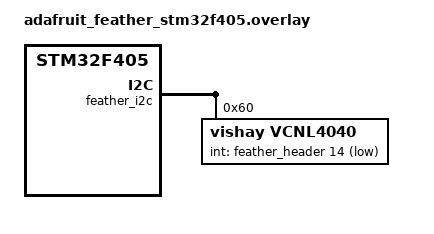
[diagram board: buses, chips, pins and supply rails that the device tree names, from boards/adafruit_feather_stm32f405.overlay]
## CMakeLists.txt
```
# SPDX-License-Identifier: Apache-2.0

cmake_minimum_required(VERSION 3.28.0)
find_package(Zephyr REQUIRED HINTS $ENV{ZEPHYR_BASE})
project(vcnl4040)

target_sources(app PRIVATE src/main.c)
```

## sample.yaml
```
sample:
  name: VCNL4040 Sensor Sample
tests:
  sample.sensor.vcnl4040:
    harness: sensor
    platform_allow:
      - adafruit_feather_stm32f405
    tags: sensors
```

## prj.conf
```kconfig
CONFIG_PRINTK=y
CONFIG_GPIO=y
CONFIG_I2C=y
CONFIG_SENSOR=y
CONFIG_VCNL4040_TRIGGER_GLOBAL_THREAD=y
CONFIG_VCNL4040_ENABLE_ALS=y
```

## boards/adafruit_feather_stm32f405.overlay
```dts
/*
 * Copyright (c) 2020, Richard Osterloh
 *
 * SPDX-License-Identifier: Apache-2.0
 */

&feather_i2c {
	vcnl4040@60 {
		compatible = "vishay,vcnl4040";
		reg = <0x60>;
		int-gpios = <&feather_header 14 (GPIO_ACTIVE_LOW | GPIO_PULL_UP)>;
		led-current = <200>;
		led-duty-cycle = <320>;
		proximity-it = "8";
		proximity-trigger = "close";
		als-it = <640>;
	};
};
```

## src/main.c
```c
/*
 * Copyright (c) 2020 Richard Osterloh
 *
 * SPDX-License-Identifier: Apache-2.0
 */

#include <zephyr/kernel.h>

#include <zephyr/sys/printk.h>
#include <zephyr/sys/clock.h>
#include <stdio.h>

#include <zephyr/device.h>
#include <zephyr/drivers/sensor.h>
#include <zephyr/drivers/i2c.h>

#define MAX_TEST_TIME	5000
#define SLEEPTIME	300

static void print_proxy_data(const struct device *dev)
{
	struct sensor_value pdata;

	if (sensor_channel_get(dev, SENSOR_CHAN_PROX, &pdata) < 0) {
		printf("Cannot read proximity data.\n");
		return;
	}

	printf("Proximity: %d\n", (uint16_t) pdata.val1);
}
#if defined(CONFIG_VCNL4040_ENABLE_ALS)
static void print_als_data(const struct device *dev)
{
	struct sensor_value val;

	if (sensor_channel_get(dev, SENSOR_CHAN_LIGHT, &val) < 0) {
		printf("ALS read error.\n");
		return;
	}

	printf("Light (lux): %d\n", (uint16_t) val.val1);
}
#endif
static void test_polling_mode(const struct device *dev)
{
	int32_t remaining_test_time = MAX_TEST_TIME;

	do {
		if (sensor_sample_fetch(dev) < 0) {
			printf("sample update error.\n");
		} else {
			print_proxy_data(dev);
#if defined(CONFIG_VCNL4040_ENABLE_ALS)
			print_als_data(dev);
#endif
		}

		/* wait a while */
		k_sleep(K_MSEC(SLEEPTIME));

		remaining_test_time -= SLEEPTIME;
	} while (remaining_test_time > 0);
}

#if defined(CONFIG_VCNL4040_TRIGGER)
static void trigger_handler(const struct device *dev,
			    const struct sensor_trigger *trig)
{
	switch (trig->type) {
	case SENSOR_TRIG_THRESHOLD:
		printf("Triggered.\n");
		if (sensor_sample_fetch(dev) < 0) {
			printf("sample update error.\n");
		} else {
			print_proxy_data(dev);
		}
		return;

	default:
		printf("trigger handler: unknown trigger type.\n");
		return;
	}
}
#endif

static void test_trigger_mode(const struct device *dev)
{
#if defined(CONFIG_VCNL4040_TRIGGER)
	struct sensor_trigger trig;
	struct sensor_value attr;

	printf("Testing proximity trigger.\n");

	attr.val1 = 127;
	attr.val2 = 0;

	if (sensor_attr_set(dev, SENSOR_CHAN_PROX,
			    SENSOR_ATTR_UPPER_THRESH, &attr) < 0) {
		printf("cannot set proximity high threshold.\n");
		return;
	}

	attr.val1 = 122;

	if (sensor_attr_set(dev, SENSOR_CHAN_PROX,
			    SENSOR_ATTR_LOWER_THRESH, &attr) < 0) {
		printf("cannot set proximity low threshold.\n");
		return;
	}

	trig.type = SENSOR_TRIG_THRESHOLD;
	trig.chan = SENSOR_CHAN_PROX;

	if (sensor_trigger_set(dev, &trig, trigger_handler) < 0) {
		printf("cannot set trigger.\n");
		return;
	}

	k_sleep(K_MSEC(MAX_TEST_TIME));

	if (sensor_trigger_set(dev, &trig, NULL) < 0) {
		printf("cannot clear trigger.\n");
		return;
	}

	printf("Threshold trigger test finished.\n");
#endif

}

int main(void)
{
	const struct device *const vcnl = DEVICE_DT_GET_ONE(vishay_vcnl4040);

	if (!device_is_ready(vcnl)) {
		printk("sensor: device not ready.\n");
		return 0;
	}

	printf("Testing the polling mode.\n");
	test_polling_mode(vcnl);
	printf("Polling mode test finished.\n");

	printf("Testing the trigger mode.\n");
	test_trigger_mode(vcnl);
	printf("Trigger mode test finished.\n");
	return 0;
}
```
